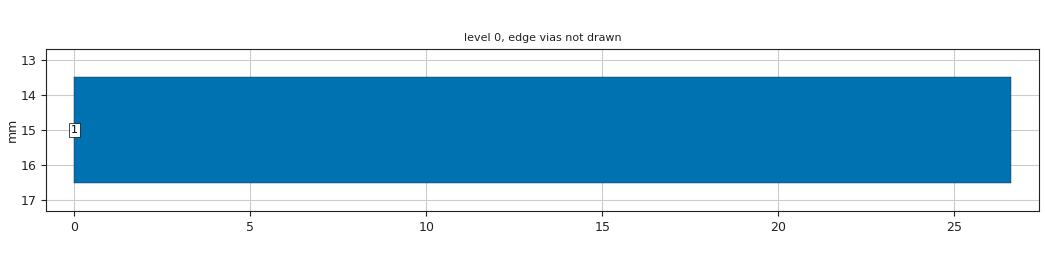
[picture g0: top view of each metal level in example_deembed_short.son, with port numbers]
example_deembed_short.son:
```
FTYP SONPROJ 16 ! Sonnet Project File
VER 16.54
HEADER
LIC kasetsartu2.2.49416 d481d7fa7bfe DESKTOP-H691NT8 KU-ICTES
DAT 02/12/2021 10:26:53
BUILT_BY_CREATED xgeom 15.53-Lite 02/03/2021 22:17:02
BUILT_BY_SAVED xgeom 16.56
MDATE 02/12/2021 10:25:07
HDATE 02/12/2021 10:25:07
END HEADER
DIM
FREQ GHZ
IND NH
LNG MM
ANG DEG
CON /OH
CAP PF
RES OH
END DIM
FREQ
SIMPLE 0.1
END FREQ
CONTROL
SIMPLE
OPTIONS  -d 
SPEED 0
CACHE_ABS 1
TARG_ABS 300
Q_ACC N
END CONTROL
GEO
SYM
DRP1 RIGHT FIX 26.6
TMET "Lossless" 0 SUP 0 0 0 0
BMET "Lossless" 0 SUP 0 0 0 0
MET "Copper" 1 NOR 58000000 0 0.035 
BOX 1 65.1 30 1302 600 20 0
      16 1 1 0 0 0 0 "AIR"
      1.6 4.4 1 0.02 0 0 0 "FR-4"
LORGN 0 30 U 
EVIA1
POLY 26 1
1
TOLEVEL 1
POR1 STD
POLY 26 1
3
1 50 0 0 0 -3.469446952e-016 15 
NUM 1
0 5 0 N 26 1 1 100 100 0 0 0 Y
-3.469446952e-016 13.5
26.60000038 13.5
26.60000038 16.5
-3.469446952e-016 16.5
-3.469446952e-016 13.5
END
END GEO
OPT
MAX 100
VARS
END
END OPT
VARSWP
END VARSWP
QSG
IMPORT NO
EXTRA_METAL NO
UNITS YES
ALIGN NO
REF NO
VIEW_RES NO
METALS NO
USED NO
END QSG
```
